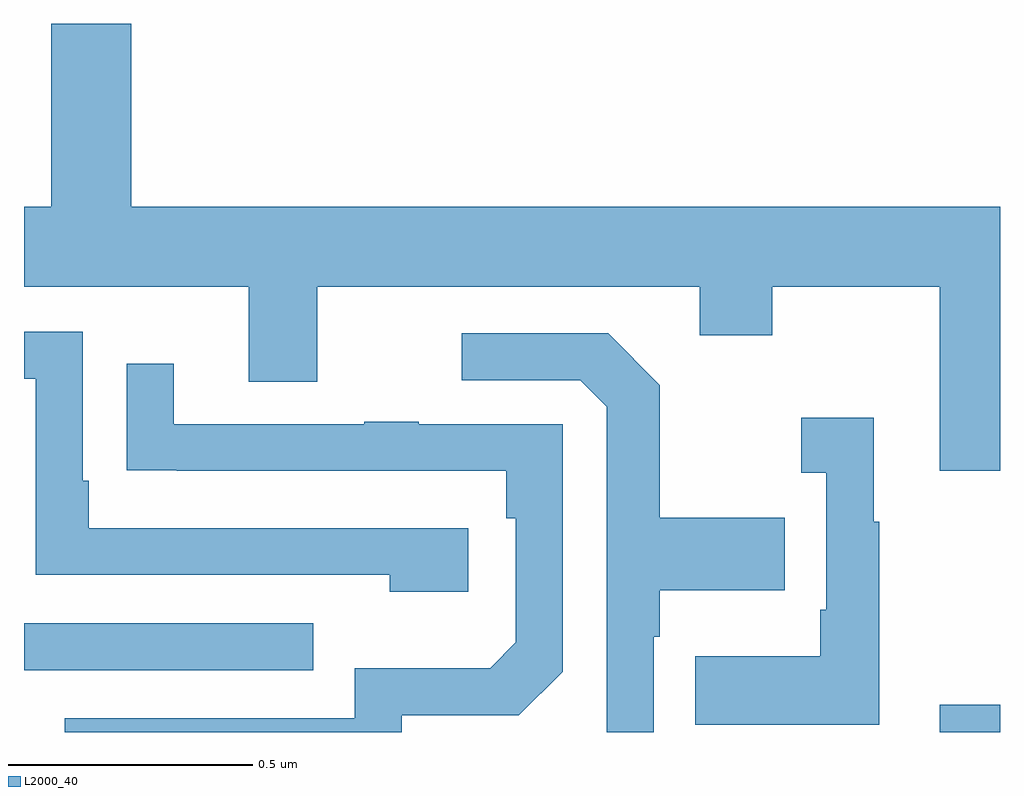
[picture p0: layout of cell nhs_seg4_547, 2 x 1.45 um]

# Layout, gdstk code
import gdstk
lib = gdstk.Library(unit=1e-6, precision=1e-09)
def R(c, l, rs):  # rectangles x0, y0, x1, y1
    for r in rs: c.add(gdstk.rectangle(r[:2], r[2:], *l))
def P(c, l, *ps):  # polygons
    for p in ps: c.add(gdstk.Polygon(p, *l))
L2000_40 = (2000, 40)

nhs_seg4_547 = lib.new_cell('nhs_seg4_547')
R(nhs_seg4_547, L2000_40, [(118.877,803.9,119,803.956), (117,804.027,117.593,804.123)])
P(nhs_seg4_547, L2000_40, [(119,804.976),(117.22,804.976),(117.22,805.351),(117.056,805.351),(117.056,804.976),(117,804.976),(117,804.812),(117.461,804.812),(117.461,804.618),(117.601,804.618),(117.601,804.812),(118.385,804.812),(118.385,804.713),(118.533,804.713),(118.533,804.812),(118.877,804.812),(118.877,804.435),(119,804.435)],
  [(117.91,804.318),(117.133,804.318),(117.133,804.415),(117.12,804.415),(117.12,804.72),(117,804.72),(117,804.624),(117.024,804.624),(117.024,804.222),(117.749,804.222),(117.749,804.188),(117.91,804.188)],
  [(118.29,804.095),(118.303,804.095),(118.303,804.191),(118.559,804.191),(118.559,804.339),(118.303,804.339),(118.303,804.611),(118.197,804.717),(117.897,804.717),(117.897,804.621),(118.14,804.621),(118.194,804.567),(118.194,803.9),(118.29,803.9)],
  [(117.774,803.934),(118.014,803.934),(118.104,804.024),(118.104,804.531),(117.809,804.531),(117.809,804.536),(117.697,804.536),(117.697,804.531),(117.307,804.531),(117.307,804.655),(117.211,804.655),(117.211,804.436),(117.313,804.436),(117.313,804.435),(117.988,804.435),(117.988,804.338),(118.008,804.338),(118.008,804.084),(117.955,804.031),(117.678,804.031),(117.678,803.928),(117.083,803.928),(117.083,803.9),(117.774,803.9)],
  [(118.753,804.331),(118.741,804.331),(118.741,804.544),(118.593,804.544),(118.593,804.431),(118.644,804.431),(118.644,804.151),(118.632,804.151),(118.632,804.055),(118.375,804.055),(118.375,803.915),(118.753,803.915)])

lib.write_gds('nhs_seg4_547.gds')
